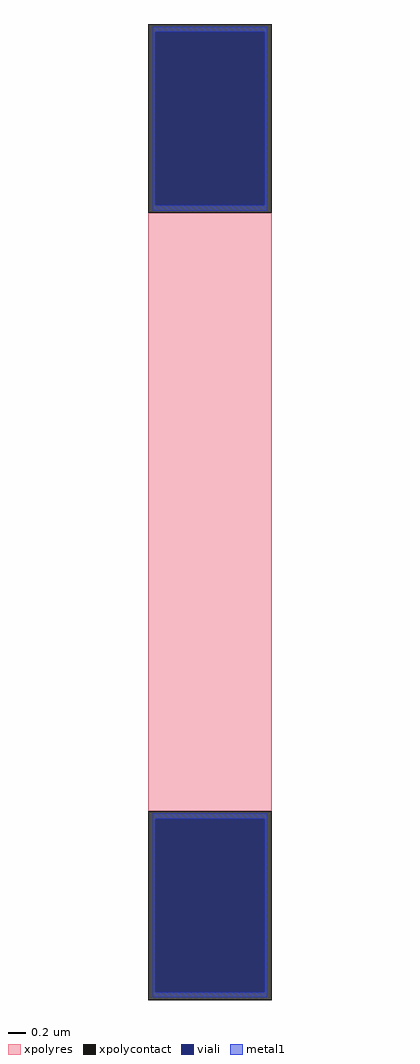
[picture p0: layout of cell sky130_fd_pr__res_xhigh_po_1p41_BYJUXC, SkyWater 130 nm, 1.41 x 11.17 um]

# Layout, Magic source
magic
tech sky130A
magscale 1 2
<< xpolycontact >>
rect -141 685 141 1117
rect -141 -1117 141 -685
<< xpolyres >>
rect -141 -685 141 685
<< viali >>
rect -125 702 125 1099
rect -125 -1099 125 -702
<< metal1 >>
rect -131 1099 131 1111
rect -131 702 -125 1099
rect 125 702 131 1099
rect -131 690 131 702
rect -131 -702 131 -690
rect -131 -1099 -125 -702
rect 125 -1099 131 -702
rect -131 -1111 131 -1099
<< properties >>
string gencell sky130_fd_pr__res_xhigh_po_1p41
string library sky130
string parameters w 1.410 l 7.012 m 1 nx 1 wmin 1.410 lmin 0.50 rho 2000 val 10.213k dummy 0 dw 0.0 term 188.2 sterm 0.0 caplen 0 wmax 1.410 guard 0 glc 1 grc 1 gtc 1 gbc 1 compatible {sky130_fd_pr__res_xhigh_po_0p35  sky130_fd_pr__res_xhigh_po_0p69 sky130_fd_pr__res_xhigh_po_1p41  sky130_fd_pr__res_xhigh_po_2p85 sky130_fd_pr__res_xhigh_po_5p73} snake 0 full_metal 1 n_guard 0 hv_guard 0 vias 1 viagb 0 viagt 0 viagl 0 viagr 0
<< end >>
